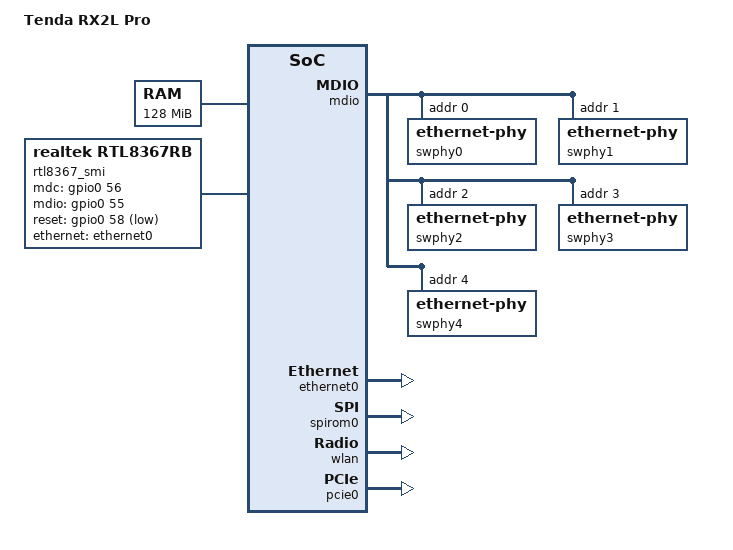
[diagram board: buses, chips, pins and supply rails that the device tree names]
// SPDX-License-Identifier: GPL-2.0
/*
 * Tenda RX2L Pro (label "RX2LProV1.0", internal board name AX2_PRO_V2)
 * Realtek RTL8197F, MIPS 24Kc little-endian.
 *
 * VARIANT B of two: kernel 6.6 / target linux/realtek, family rtl8197f
 * (base "B", tobyw121/Openwrt_RTL), external gigabit switch driven by the
 * mainline DSA driver net/dsa/rtl8365mb.c plus this tree's patches
 * 325-net-dsa-realtek-rtl8365mb-add-native-rtl8367d.patch and
 * 328-...-add-mw5-rtl8363-family.patch.
 *
 * The twin file rtl8197f_tenda_rx2lpro.dts describes the same board for the
 * 6.18 / swconfig route. Everything physical is identical between the two;
 * what differs is (a) the gpio cell numbering, (b) how the switch is
 * described (realtek,extif + init-regs vs a ports/mdio tree), and (c) what
 * /etc/config/network then has to name. Read gpio-numbering.md and
 * switch-driver-analysis.md in this directory before choosing.
 *
 * Evidence for every number is listed in the header of variant A; it is all
 * from dumps of THIS unit (mtdlayout.txt, info.txt, sys_info.log,
 * mtd2_CFG.bin, etc_ro/gpio_conf, etc_ro/eth_to_port_config.txt,
 * default.cfg, RouterCfm.cfg and our own /tmp/work4/uboot_gz.bin).
 * Nothing was copied from a sibling board's memory size or port map.
 */

/dts-v1/;

#include "rtl8197f.dtsi"

#include <dt-bindings/gpio/gpio.h>
#include <dt-bindings/input/input.h>

/ {
	compatible = "tenda,rx2l-pro", "tenda,ax2-pro-v2",
		     "realtek,rtl8197f-soc";
	model = "Tenda RX2L Pro";

	aliases {
		serial0 = &uart0;
		ethernet0 = &ethernet0;
	};

	chosen {
		/* console=ttyS0,115200 is this board's own /proc/cmdline.
		 * No root=: stock's root=/dev/mtdblock4 refers to a partition
		 * index our own table changes. No cmdline hwnat either -- arm
		 * it from userspace after the switch is up.
		 */
		bootargs = "console=ttyS0,115200n8 rootfstype=squashfs,jffs2";
		stdout-path = "serial0:115200n8";
	};

	/*
	 * 128 MiB. Measured here, not assumed: stock /proc/meminfo reports
	 * MemTotal 115744 kB, i.e. 128 MiB less the kernel's own reservations.
	 * AC23/Lynx/RX23302 in both bases are 64 MiB designs; copying their
	 * 0x04000000 would silently halve this board's RAM.
	 */
	memory@0 {
		device_type = "memory";
		reg = <0x00000000 0x08000000>;
	};

	/*
	 * -----------------------------------------------------------------
	 * LEDs and keys: present but status = "disabled". See
	 * gpio-numbering.md; do not enable it before the two open questions
	 * there are closed.
	 *
	 * Stock /etc_ro/gpio_conf names the vendor BSP_GPIO lines:
	 *   green "sys" LED  gpio_index 0  gpio_id 54
	 *   red LED          gpio_index 7  gpio_id 57
	 *   reset button     gpio_index 32 gpio_id 33
	 *   wps button       gpio_index 33 gpio_id 33   <- same line!
	 *
	 * Vendor line N maps to port (N/8) pin (N%8), A=0..H=7, so
	 * 54 = G6, 57 = H1, 33 = E1. This base drives all 64 lines from ONE
	 * gpiochip ("realtek,rtl8197f-gpio", reg = <0x3500 0x38>,
	 * ngpios = <64>), so the DT cell is the line number itself:
	 * &gpio0 54, &gpio0 57, &gpio0 33. The 6.18/swconfig base splits the
	 * same block into two 32-line chips and therefore says &gpio1 22 /
	 * &gpio1 25 / &gpio1 1 instead -- same pads, different arithmetic.
	 *
	 * Blocked on: (1) line 33 = port E1 is not a free pad until its sysc
	 * mux field is set; the RX23302 note for the same line reads "pin E1
	 * is not released without pinmux", and we have not identified that
	 * field. (2) gpio_id is an output-driver index for the LED pattern
	 * engine, so it proves direction, never polarity -- the active-low
	 * assumption below is inherited from sibling Tenda boards, not
	 * measured here. (3) On the reference board an LED node on the wrong
	 * pin held the external switch in reset, so a wrong guess here can
	 * take down the track that matters most.
	 * -----------------------------------------------------------------
	 */
	leds: leds {
		compatible = "gpio-leds";
		status = "disabled";

		// led_green: sys {
		//         label = "green:status";
		//         gpios = <&gpio0 54 GPIO_ACTIVE_LOW>;   // G6, vendor line 54
		//         default-state = "on";
		// };
		// led_red: red {
		//         label = "red:internet";
		//         gpios = <&gpio0 57 GPIO_ACTIVE_LOW>;   // H1, vendor line 57
		// };
	};

	keys: keys {
		compatible = "gpio-keys";
		status = "disabled";

		// One physical Reset/WPS combo line (vendor gpio_id 33, E1):
		// short press WPS, long press reset. Declaring it twice would
		// be two drivers on one irq.
		//
		//         button {
		//                 label = "reset";
		//                 gpios = <&gpio0 33 GPIO_ACTIVE_LOW>;
		//                 linux,code = <KEY_RESTART>;
		//                 debounce-interval = <60>;
		//         };
	};

	/*
	 * =====================================================================
	 * External gigabit switch, DSA route (rtl8365mb + rtl8_4 tags).
	 * =====================================================================
	 *
	 * SMI: MDC = SDK H0 = line 56, MDIO = SDK G7 = line 55, reset = H2 =
	 * line 58, with the pin mux our own U-Boot programs at 0xB8000034
	 * (RMW of 0x03300000, mask 0x0ff00000 -- reproduced exactly by the
	 * &pinmux entry below, which this base does have and the 6.18 base
	 * does not).
	 *
	 * CPU trunk: port 6, reached as external interface EXTIF1. From
	 * stock: lanvlan "1 0x15d 0x40" and wanvlan1 "2 0x142 0x40" both have
	 * the untagged mask 0x40 = bit 6, RouterCfm.cfg says cpu1.phyid=6,
	 * and the SoC-side descriptor bits are TD_DP 0x40 + TD_DP_EXT 0x2 --
	 * the same triple toby's AC23/Lynx use for port@6.
	 *
	 * COMPATIBLE STRINGS -- read this before trusting the list.
	 * rtl8365mb matches the compatible only to bind a driver; the actual
	 * part is chosen by reading chip id/version registers. Its chip table
	 * (after patch 325) contains, among others:
	 *     "RTL8367C/R/RB/SB family"   id 0x6367, any version,
	 *         extint1 -> port 6, extint2 -> port 7
	 *     "RTL8367D / RTL8367RB-VC"   id 0x6642 ver 0x003x,
	 *         extint1 -> port 7  (NOT port 6)
	 * So if our chip answers 0x6642, a port@6 CPU trunk is not described
	 * by that table and the driver will not accept it; the RD05/Electra
	 * layout of port@7 with tx-port-mask 0x1 is what that chip gets out
	 * of the box. Our stock data says port 6, which is the 0x6367-family
	 * wiring. All candidates are therefore listed so probe binds, and the
	 * dmesg line "Realtek-X ... found chip ..." decides the rest. If it
	 * reports 0x6642, either move the CPU to port@7 and switch the
	 * descriptor bits to 0x1/0/0 (the RD05 template's values, which
	 * contradicts our own stock dump -- so do not do this blind) or
	 * extend the RTL8367D table entry with an extint1-at-port-6 variant.
	 */
	rtl8367_smi: switch {
		compatible = "realtek,rtl8367rb", "realtek,rtl8367rb-vc",
			     "realtek,rtl8367d", "realtek,rtl8365mb";
		pinctrl-names = "default";
		pinctrl-0 = <&rtl8367_smi_h0_g7_pins>;

		mdc-gpios = <&gpio0 56 GPIO_ACTIVE_HIGH>;	/* line 56, H0 */
		mdio-gpios = <&gpio0 55 GPIO_ACTIVE_HIGH>;	/* line 55, G7 */
		reset-gpios = <&gpio0 58 GPIO_ACTIVE_LOW>;	/* line 58, H2 */

		/* The four lamps in the jacks are driven by the switch itself
		 * (stock sets LED groups), and this base's LED handling for
		 * the 8367 family fights the vendor defaults. Keep the DSA
		 * side off and let the board's own LEDs be handled once the
		 * gpio_conf lines are settled.
		 */
		realtek,disable-leds;

		status = "okay";

		ports {
			#address-cells = <1>;
			#size-cells = <0>;

			/*
			 * Jack map from this unit's stock userspace.
			 *
			 * /etc_ro/eth_to_port_config.txt (read one line per
			 * interface, first 32 bytes) says:
			 *     eth0:4;  eth1:1;  eth2:3;  eth3:2;  vlan1:1;
			 * and RouterCfm.cfg gives lan1.phyid=4, lan2.phyid=3,
			 * lan3.phyid=2, wan1.phyid=1, while default.cfg gives
			 * the same with eth_port1mask=0x151 (bit 4),
			 * eth_port2mask=0x149 (bit 3), eth_port3mask=0x145
			 * (bit 2), eth_port4mask=0x143 (bit 1).
			 *
			 * That is consistent and it is what the labels below
			 * encode: WAN = switch port 1, and LAN1/LAN2/LAN3 =
			 * ports 4/3/2 -- the numbering runs DOWN the board
			 * away from the WAN jack (default.cfg's own comment
			 * says "put the jacks nearest the WAN port first").
			 *
			 * Two cautions, both hardware-testable in one minute:
			 *  - lanvlan 0x15d also contains bit 0, and no
			 *    netdev is mapped to port 0. Either a fifth (LAN4)
			 *    jack exists on that port, or port 0 is a spare
			 *    member the vendor config always includes.
			 *    lan4.phyid is empty in default.cfg and is 1 --
			 *    i.e. the WAN port -- in the live RouterCfm.cfg,
			 *    which is self-contradictory. port@0 below is
			 *    therefore labelled lan4 and marked UNCONFIRMED.
			 *  - "LAN1 is the jack next to WAN" vs "LAN1 is the
			 *    far one" flips lan1<->lan3; only plugging a
			 *    cable in a known jack settles it (REPORT.md #4).
			 */
			port@0 {
				reg = <0>;
				label = "lan4";	/* UNCONFIRMED: in the
							 * stock LAN VLAN mask
							 * (0x15d bit 0) but no
							 * netdev maps here.
							 */
				phy-handle = <&swphy0>;
			};

			port@1 {
				reg = <1>;
				label = "wan";
				phy-handle = <&swphy1>;
			};

			port@2 {
				reg = <2>;
				label = "lan3";
				phy-handle = <&swphy2>;
			};

			port@3 {
				reg = <3>;
				label = "lan2";
				phy-handle = <&swphy3>;
			};

			port@4 {
				reg = <4>;
				label = "lan1";
				phy-handle = <&swphy4>;
			};

			/* ports 5 and 7: not brought out on this board.
			 * port 7 only becomes interesting if detect answers
			 * 0x6642 (see the compatible note above).
			 */

			port@6 {
				reg = <6>;
				label = "cpu";
				ethernet = <&ethernet0>;
				phy-mode = "rgmii";

				/* RTL8367 RGMII CPU trunk: TX 0, RX 5 steps
				 * at 300 ps = 1500 ps. Same final value the
				 * sibling Tenda RTL8367 boards use and the
				 * value the swconfig variant asks for through
				 * realtek,extif. Needs one sweep on hardware
				 * if the link trains at 100M instead of 1G.
				 */
				tx-internal-delay-ps = <0>;
				rx-internal-delay-ps = <1500>;

				fixed-link {
					speed = <1000>;
					full-duplex;
					pause;
				};
			};
		};

		mdio {
			compatible = "realtek,smi-mdio";
			#address-cells = <1>;
			#size-cells = <0>;

			/* The 8367's five copper PHYs. EEE is disabled on
			 * both bases' Tenda boards because the 100TX/1000T EEE
			 * paths are reported broken on this family.
			 */
			swphy0: ethernet-phy@0 { reg = <0>; eee-broken-100tx; eee-broken-1000t; };
			swphy1: ethernet-phy@1 { reg = <1>; eee-broken-100tx; eee-broken-1000t; };
			swphy2: ethernet-phy@2 { reg = <2>; eee-broken-100tx; eee-broken-1000t; };
			swphy3: ethernet-phy@3 { reg = <3>; eee-broken-100tx; eee-broken-1000t; };
			swphy4: ethernet-phy@4 { reg = <4>; eee-broken-100tx; eee-broken-1000t; };
		};
	};
};

/*
 * SMI pin mux. Our own stage-1/U-Boot performs the identical RMW: it reads
 * 0xB8000034, masks, and ORs 0x03300000 back (0x80006a68 and 0x80006c34 in
 * uboot_gz.bin: lui $v0,0x330 / and / or / sw). Two 4-bit fields at bits
 * 20-23 and 24-27 both go to function 3, and no source we have names those
 * two fields individually -- but it is the same masked value the sibling
 * Tenda RTL8197F boards use for exactly this H0/G7 pair, so it is the value
 * for this pad pair, not a guess.
 */
&pinmux {
	rtl8367_smi_h0_g7_pins: rtl8367-smi-h0-g7-pins {
		pinctrl-single,bits = <0x34 0x03300000 0x0ff00000>;
	};
};

&gpio0 {
	/* Interrupts of this controller are unproven on RTL8197F (the sibling
	 * board's LED/key notes say the same), and an unacked edge line is a
	 * boot hang risk. Strip the irqchip and use polled keys when the
	 * lines are settled.
	 */
	/delete-property/ interrupt-controller;
	/delete-property/ #interrupt-cells;
	/delete-property/ interrupt-parent;
	/delete-property/ interrupts;
	status = "okay";
};

/*
 * SoC CPU interface. rtl8_4 (4-byte) DSA tags carry the destination jack
 * mask in the descriptor, which is why these three numbers are the stock
 * ones rather than RD05's:
 *   tx-port-mask 0x40 = TD_DP bit 6, the CPU trunk
 *   tx-dp-ext    0x2  = TD_DP_EXT bit 1, EXTIF1
 *   tx-extspa    0    = no external-space offset
 * See switch-driver-analysis.md for what the swconfig route does instead.
 */
&ethernet0 {
	/* OEM New_swNic_init walks both rings in 24-byte steps. */
	realtek,descriptor-dwords = <6>;
	realtek,tx-port-mask = <0x40>;
	realtek,tx-dp-ext = <0x2>;
	realtek,tx-extspa = <0>;
	status = "okay";
};

/* Stock does not use the SWCORE diagnostics page. */
&ethdiag0 {
	status = "disabled";
};

/*
 * SPI-NOR. This base reads the flash through the auto-mapped window
 * (spirom0), not through the sheipa controller node, so spi0 stays off and
 * only one driver claims the part.
 */
&spi0 {
	status = "disabled";
};

&spirom0 {
	status = "okay";

	/* 16 MiB window. Our /proc/mtd shows mtd0 "ALL" as 0x00ff0000 and
	 * MISC2 ending at 0xff0000, so the part is at least 16 MiB -- this
	 * contradicts the "8 MiB SPI NOR" line in port/FACTS.md section 1,
	 * which appears to be stale; the dumps are authoritative.
	 */
	reg = <0x10000000 0x01000000>;
	erase-size = <0x10000>;

	/* RD05 needed a +1 read shift on the auto-mapped byte reads; the AC23
	 * board carried the same quirk forward. Whether OUR part needs it is
	 * a first-boot question -- if the kernel cannot find its squashfs
	 * where the loader reads it fine, this is the first property to
	 * remove, not the last.
	 */
	realtek,read-shift = <1>;

	partitions {
		compatible = "fixed-partitions";
		#address-cells = <1>;
		#size-cells = <1>;

		/* Stock labels and offsets, verbatim from /sys/class/mtd:
		 *   mtd1 Bootloader 0x000000 +0x030000
		 *   mtd2 CFG        0x030000 +0x010000
		 *   mtd3 KernelFS   0x040000 +0xf80000
		 *   mtd4 RootFS     0x400812 +0xbbf7ee  (a window INSIDE mtd3,
		 *                                        not a sibling: do not
		 *                                        declare it)
		 *   mtd5 CFM        0xfc0000 +0x010000
		 *   mtd6 CFM_BACKUP 0xfd0000 +0x010000
		 *   mtd7 MISC2      0xfe0000 +0x010000
		 * Erase size is 0x10000 on every device; there is no
		 * KernelFS1/2, hence no dual-bank rollback.
		 */
		partition@0 {
			label = "Bootloader";
			reg = <0x00000000 0x00030000>;
			/* XIP at 0xb0000000, stage-1 + U-Boot + the strap
			 * that gates disaster_web recovery. Never writable by
			 * anything we ship.
			 */
			read-only;
		};

		partition@30000 {
			label = "CFG";
			reg = <0x00030000 0x00010000>;
			read-only;

			/*
			 * Per-unit identity, and the reason this tree cannot
			 * use a mac-base cell: the MAC is stored as ASCII
			 * key=value text in this vendor's config partition,
			 * not as 6 binary bytes.
			 *   +0x22d "TENDA.lan_mac="    value at +0x23b (17 B)
			 *   +0x5a5 "TENDA.wlan0_mac="  value at +0x5b5 (5 GHz)
			 *   +0x5c7 "TENDA.wlan1_mac="  value at +0x5d7 (2.4 GHz)
			 * An nvmem mac cell must be exactly ETH_ALEN raw bytes
			 * (of_get_mac_address() reads it with nvmem_cell_read
			 * and copies into a sockaddr), and no binary form of
			 * the address exists anywhere in the dumped
			 * Bootloader/CFG/CFM/CFM_BACKUP/MISC2. Pointing a
			 * mac-base cell at the text would hand the driver the
			 * first six ASCII characters of the address text (xx:xx:) -- a
			 * well-formed, wrong MAC.
			 *
			 * So these cells are declared as plain byte windows
			 * for whoever wants to parse them, and the working
			 * extractor stays in board.d/02_network, which already
			 * greps the ASCII field. No MAC value is embedded in
			 * this file, by design and by rule.
			 */
			nvmem-layout {
				compatible = "fixed-layout";
				#address-cells = <1>;
				#size-cells = <1>;

				lan_mac_ascii: lan-mac-ascii@23b {
					reg = <0x0023b 0x11>;
				};

				wlan2g_mac_ascii: wlan2g-mac-ascii@5d7 {
					reg = <0x005d7 0x11>;
				};

				wlan5g_mac_ascii: wlan5g-mac-ascii@5b5 {
					reg = <0x005b5 0x11>;
				};
			};
		};

		/* The one writable partition: cr6c container (16-byte
		 * header, LZMA payload, 2-byte checksum, squashfs) plus the
		 * overlay. Named "firmware" in the AC23 board so OpenWrt's
		 * name-matched mtdsplit still runs -- a compatible property
		 * on this node would suppress the split, so it is deliberately
		 * absent. The stock label is KernelFS; keeping "firmware" here
		 * is a functional choice, flagged for the image track.
		 */
		partition@40000 {
			label = "firmware";
			reg = <0x00040000 0x00f80000>;
		};

		partition@fc0000 {
			label = "CFM";
			reg = <0x00fc0000 0x00010000>;
			read-only;
		};

		partition@fd0000 {
			label = "CFM_BACKUP";
			reg = <0x00fd0000 0x00010000>;
			read-only;
		};

		partition@fe0000 {
			label = "MISC2";
			reg = <0x00fe0000 0x00010000>;
			read-only;
		};
	};
};

/*
 * 2.4 GHz: the WMAC built into the SoC. IRQ 6 is measured on this unit --
 * /proc/interrupts shows "6: ... wlan1", and stock's 2.4 GHz interface is
 * wlan1 (its EasyMesh report gives the 24g MAC ...:b4 = CFG+0x5c7
 * wlan1_mac, while wlan0 = ...:c4 = 5g on IRQ 5 / PCIe). So the
 * interrupt-parent = <&cpuintc>; interrupts = <6> already in rtl8197f.dtsi
 * is right for our radio and needs no override.
 */
&wlan {
	status = "okay";
};

/*
 * 5 GHz: RTL8832BR (Wi-Fi 6) over PCIe. The card is on this root complex --
 * /proc/interrupts puts the vendor rtk_wifi6 driver on MIPS IRQ 5, which is
 * exactly pcie0's interrupt in rtl8197f.dtsi (BSP_PCIE_IRQ base + 5).
 *
 * No mainline driver claims it: rtw89 knows 8851B/8852A/B/BT/C and 8922A/D,
 * not 8832. Enumeration is a first-boot step and the PCI device id is not in
 * any dump we hold, so the child node stays commented out rather than
 * carrying a guessed "pci10ec,b8xx". One read-only command settles the id
 * (REPORT.md item 3).
 */
&pcie0 {
	status = "okay";

	/*
	 * wifi@0,0 {
	 *         compatible = "pci10ec,<DEVICE-ID-FROM-lspci-nn>";
	 *         reg = <0x00000000 0 0 0 0>;
	 * };
	 */
};
